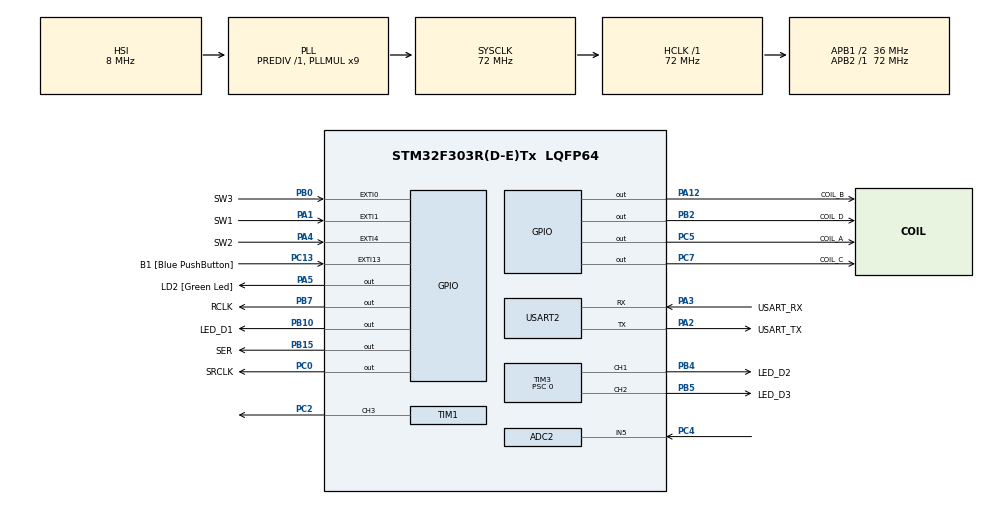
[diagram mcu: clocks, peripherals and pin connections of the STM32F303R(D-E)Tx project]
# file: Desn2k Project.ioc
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ADC2.Channel-0\#ChannelRegularConversion=ADC_CHANNEL_5
ADC2.NbrOfConversionFlag=1
ADC2.Offset-0\#ChannelRegularConversion=0
ADC2.OffsetNumber-0\#ChannelRegularConversion=ADC_OFFSET_NONE
ADC2.Rank-0\#ChannelRegularConversion=1
ADC2.SamplingTime-0\#ChannelRegularConversion=ADC_SAMPLETIME_1CYCLE_5
ADC2.SamplingTimeOPAMP-0\#ChannelRegularConversion=ADC_SAMPLETIME_61CYCLES_5
Mcu.Family=STM32F3
Mcu.Name=STM32F303R(D-E)Tx
Mcu.Package=LQFP64
NVIC.EXTI0_IRQn=true\:0\:0\:false\:false\:true\:true\:true\:true
NVIC.EXTI15_10_IRQn=true\:0\:0\:false\:false\:true\:true\:true\:true
NVIC.EXTI1_IRQn=true\:0\:0\:false\:false\:true\:true\:true\:true
NVIC.EXTI4_IRQn=true\:0\:0\:false\:false\:true\:true\:true\:true
NVIC.PriorityGroup=NVIC_PRIORITYGROUP_0
NVIC.RTC_Alarm_IRQn=true\:0\:0\:false\:false\:true\:true\:true\:true
NVIC.TIM1_BRK_TIM15_IRQn=true\:0\:0\:false\:false\:true\:true\:true\:true
NVIC.TIM1_TRG_COM_TIM17_IRQn=true\:0\:0\:false\:false\:true\:true\:true\:true
NVIC.TIM1_UP_TIM16_IRQn=true\:0\:0\:false\:false\:true\:true\:true\:true
NVIC.TIM6_DAC_IRQn=true\:0\:0\:false\:false\:true\:true\:true\:true
NVIC.TIM7_IRQn=true\:0\:0\:false\:false\:true\:true\:true\:true
PA1.GPIO_Label=SW1
PA1.Signal=GPXTI1
PA12.GPIO_Label=COIL_B
PA12.Signal=GPIO_Output
PA13.GPIO_Label=TMS
PA13.Mode=Serial_Wire
PA13.Signal=SYS_JTMS-SWDIO
PA14.GPIO_Label=TCK
PA14.Mode=Serial_Wire
PA14.Signal=SYS_JTCK-SWCLK
PA2.GPIO_Label=USART_TX
PA2.GPIO_Mode=GPIO_MODE_AF_PP
PA2.GPIO_PuPd=GPIO_NOPULL
PA2.GPIO_Speed=GPIO_SPEED_FREQ_LOW
PA2.Mode=Asynchronous
PA2.Signal=USART2_TX
PA3.GPIO_Label=USART_RX
PA3.GPIO_Mode=GPIO_MODE_AF_PP
PA3.GPIO_PuPd=GPIO_NOPULL
PA3.GPIO_Speed=GPIO_SPEED_FREQ_LOW
PA3.Mode=Asynchronous
PA3.Signal=USART2_RX
PA4.GPIO_Label=SW2
PA4.Signal=GPXTI4
PA5.GPIO_Label=LD2 [Green Led]
PA5.GPIO_Mode=GPIO_MODE_OUTPUT_PP
PA5.GPIO_PuPd=GPIO_NOPULL
PA5.GPIO_Speed=GPIO_SPEED_FREQ_LOW
PA5.Signal=GPIO_Output
PB0.GPIO_Label=SW3
PB0.Signal=GPXTI0
PB10.GPIO_Label=LED_D1
PB10.Signal=GPIO_Output
PB15.GPIO_Label=SER
PB15.Signal=GPIO_Output
PB2.GPIO_Label=COIL_D
PB2.Signal=GPIO_Output
PB3.GPIO_Label=SWO
PB3.Signal=SYS_JTDO-TRACESWO
PB4.GPIO_Label=LED_D2
PB4.Signal=S_TIM3_CH1
PB5.GPIO_Label=LED_D3
PB5.Signal=S_TIM3_CH2
PB7.GPIO_Label=RCLK
PB7.Signal=GPIO_Output
PC0.GPIO_Label=SRCLK
PC0.Signal=GPIO_Output
PC13.GPIO_Label=B1 [Blue PushButton]
PC13.GPIO_ModeDefaultEXTI=GPIO_MODE_IT_FALLING
PC13.Signal=GPXTI13
PC14-OSC32_IN.Mode=LSE-External-Oscillator
PC14-OSC32_IN.Signal=RCC_OSC32_IN
PC15-OSC32_OUT.Mode=LSE-External-Oscillator
PC15-OSC32_OUT.Signal=RCC_OSC32_OUT
PC2.Signal=S_TIM1_CH3
PC4.Mode=IN5-Single-Ended
PC4.Signal=ADC2_IN5
PC5.GPIO_Label=COIL_A
PC5.Signal=GPIO_Output
PC7.GPIO_Label=COIL_C
PC7.Signal=GPIO_Output
PF0-OSC_IN.Mode=HSE-External-Clock-Source
PF0-OSC_IN.Signal=RCC_OSC_IN
PF1-OSC_OUT.Signal=RCC_OSC_OUT
ProjectManager.HeapSize=0x200
ProjectManager.StackSize=0x400
ProjectManager.TargetToolchain=STM32CubeIDE
RCC.AHBFreq_Value=72000000
RCC.APB1CLKDivider=RCC_HCLK_DIV2
RCC.APB1Freq_Value=36000000
RCC.APB1TimFreq_Value=72000000
RCC.APB2Freq_Value=72000000
RCC.APB2TimFreq_Value=72000000
RCC.CortexFreq_Value=72000000
RCC.HCLKFreq_Value=72000000
RCC.HSE_VALUE=8000000
RCC.HSI_VALUE=8000000
RCC.PLLM=8
RCC.PLLMUL=RCC_PLL_MUL9
RCC.PLLN=336
RCC.PLLP=RCC_PLLP_DIV4
RCC.PLLQ=7
RCC.RCC_PLLsource_Clock_Source_FROM_HSE=RCC_HSE_PREDIV_DIV2
RCC.SYSCLKFreq_VALUE=72000000
RCC.SYSCLKSourceVirtual=RCC_SYSCLKSOURCE_PLLCLK
RCC.USBFreq_Value=72000000
RTC.Alarm-Alarm\ A=RTC_ALARM_A
RTC.AlarmMaskDateWeekDay-Alarm\ A=RTC_ALARMMASK_DATEWEEKDAY
RTC.Date=27
RTC.Hours=18
RTC.Hours_A-Alarm\ A=18
RTC.Minutes=16
RTC.Minutes_A-Alarm\ A=17
RTC.Month=RTC_MONTH_JULY
RTC.Seconds=0
RTC.WeekDay=RTC_WEEKDAY_SATURDAY
RTC.Year=24
SH.S_TIM1_CH3.0=TIM1_CH3,PWM Generation3 CH3
SH.S_TIM3_CH1.0=TIM3_CH1,PWM Generation1 CH1
SH.S_TIM3_CH2.0=TIM3_CH2,PWM Generation2 CH2
TIM1.Channel-PWM\ Generation3\ CH3=TIM_CHANNEL_3
TIM1.Period=65535
TIM1.Prescaler=999
TIM1.Pulse-PWM\ Generation3\ CH3=0
TIM15.Period=9999
TIM15.Prescaler=7199
TIM16.Period=999
TIM16.Prescaler=7199
TIM3.Channel-PWM\ Generation1\ CH1=TIM_CHANNEL_1
TIM3.Channel-PWM\ Generation2\ CH2=TIM_CHANNEL_2
TIM3.Period=65535
TIM3.Prescaler=0
TIM3.Pulse-PWM\ Generation1\ CH1=0
TIM3.Pulse-PWM\ Generation2\ CH2=0
TIM6.Period=9999
TIM6.Prescaler=7199
TIM7.Period=9999
TIM7.Prescaler=7111
USART2.VirtualMode-Asynchronous=VM_ASYNC
VP_RTC_VS_RTC_Activate.Mode=RTC_Enabled
VP_RTC_VS_RTC_Alarm_A_Intern.Mode=Alarm A
VP_RTC_VS_RTC_Calendar.Mode=RTC_Calendar
VP_TIM15_VS_ClockSourceINT.Mode=Internal
VP_TIM16_VS_ClockSourceINT.Mode=Enable_Timer
VP_TIM1_VS_ClockSourceINT.Mode=Internal
VP_TIM3_VS_ClockSourceINT.Mode=Internal
VP_TIM6_VS_ClockSourceINT.Mode=Enable_Timer
VP_TIM7_VS_ClockSourceINT.Mode=Enable_Timer
board=NUCLEO-F303RE

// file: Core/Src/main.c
/* USER CODE BEGIN Header */
/**
  ******************************************************************************
  * @file           : main.c
  * @brief          : Main program body
  ******************************************************************************
  * @attention
  *
  * Copyright (c) 2024 STMicroelectronics.
  * All rights reserved.
  *
  * This software is licensed under terms that can be found in the LICENSE file
  * in the root directory of this software component.
  * If no LICENSE file comes with this software, it is provided AS-IS.
  *
  ******************************************************************************
  */
/* USER CODE END Header */
#include "main.h"

/* USER CODE BEGIN Includes */
#include "lcd_keypad.h"
#include "timer_config.h"
#include "stopwatch.h"
#include "clock.h"
#include "timer.h"
#include "stdtimer.h"
#include "alarm.h"

#include "stdio.h"
#include "stdbool.h"
#include "math.h"
/* USER CODE END Includes */

/* USER CODE BEGIN PD */
#define DEBOUNCE_DELAY_MS 50  // Debounce delay in milliseconds
/* USER CODE END PD */

ADC_HandleTypeDef hadc2;

RTC_HandleTypeDef hrtc;

TIM_HandleTypeDef htim1;
TIM_HandleTypeDef htim3;
TIM_HandleTypeDef htim6;
TIM_HandleTypeDef htim7;
TIM_HandleTypeDef htim15;
TIM_HandleTypeDef htim16;

UART_HandleTypeDef huart2;

/* USER CODE BEGIN PV */
volatile DeviceState deviceState = {0};
volatile DeviceState previousState = {0};

extern volatile TimerMode currentTimer;
extern volatile TimerMode previousTimer;

int inMode = 0;
int reload = 0;
int playAlert = 0;
/* USER CODE END PV */

void SystemClock_Config(void);
static void MX_GPIO_Init(void);
static void MX_USART2_UART_Init(void);
static void MX_RTC_Init(void);
static void MX_TIM1_Init(void);
static void MX_TIM6_Init(void);
static void MX_TIM16_Init(void);
static void MX_TIM3_Init(void);
static void MX_ADC2_Init(void);
static void MX_TIM15_Init(void);
static void MX_TIM7_Init(void);
/* USER CODE BEGIN PFP */
void CheckDeviceState();
void Motor(int steps);
bool hasStateChanged(DeviceState currentState);
void LightBrightness();
void checkSTDTimer();
/* USER CODE END PFP */

int main(void)
{

  /* MCU Configuration--------------------------------------------------------*/

  /* Reset of all peripherals, Initializes the Flash interface and the Systick. */
  HAL_Init();

  /* Configure the system clock */
  SystemClock_Config();

  /* Initialize all configured peripherals */
  MX_GPIO_Init();
  MX_USART2_UART_Init();
  MX_RTC_Init();
  MX_TIM1_Init();
  MX_TIM6_Init();
  MX_TIM16_Init();
  MX_TIM3_Init();
  MX_ADC2_Init();
  MX_TIM15_Init();
  MX_TIM7_Init();

  /* Infinite loop */
  /* USER CODE BEGIN WHILE */
  HAL_GPIO_WritePin(RW_PORT, LCD_RW_PIN, GPIO_PIN_RESET);
  HAL_GPIO_WritePin(RS_PORT, LCD_RS_PIN, GPIO_PIN_RESET);
  HAL_GPIO_WritePin(E_PORT, LCD_E_PIN, GPIO_PIN_RESET);

  HAL_TIM_PWM_Start(&htim3, TIM_CHANNEL_2);
  HAL_TIM_PWM_Start(&htim3, TIM_CHANNEL_1);

  init_magic();

  // starting timer for brightness of LDR LED's
  HAL_TIM_PWM_Start(&htim1, TIM_CHANNEL_3);
  TIM1->CCR3 = 0;

  // starting timer configuration
  welcome();
  // needs to be after as its based on the user's duration input
  init_timers();

  // clearing shift registers and LCD
  shiftByte(0);
  latchData();
  LCD_Clear();
  LCD_SetCursor(0, 0);
  while (1)
  {
    /* USER CODE END WHILE */

    /* USER CODE BEGIN 3 */
	  // adjust the LED's based on ambient light
	  LightBrightness();
	  // check the current state of the timer
	  CheckDeviceState();

  }
  /* USER CODE END 3 */
}

void SystemClock_Config(void)
{
  RCC_OscInitTypeDef RCC_OscInitStruct = {0};
  RCC_ClkInitTypeDef RCC_ClkInitStruct = {0};
  RCC_PeriphCLKInitTypeDef PeriphClkInit = {0};

  /** Initializes the RCC Oscillators according to the specified parameters
  * in the RCC_OscInitTypeDef structure.
  */
  RCC_OscInitStruct.OscillatorType = RCC_OSCILLATORTYPE_HSI|RCC_OSCILLATORTYPE_LSI;
  RCC_OscInitStruct.HSIState = RCC_HSI_ON;
  RCC_OscInitStruct.HSICalibrationValue = RCC_HSICALIBRATION_DEFAULT;
  RCC_OscInitStruct.LSIState = RCC_LSI_ON;
  RCC_OscInitStruct.PLL.PLLState = RCC_PLL_ON;
  RCC_OscInitStruct.PLL.PLLSource = RCC_PLLSOURCE_HSI;
  RCC_OscInitStruct.PLL.PLLMUL = RCC_PLL_MUL9;
  RCC_OscInitStruct.PLL.PREDIV = RCC_PREDIV_DIV1;
  if (HAL_RCC_OscConfig(&RCC_OscInitStruct) != HAL_OK)
  {
    Error_Handler();
  }

  /** Initializes the CPU, AHB and APB buses clocks
  */
  RCC_ClkInitStruct.ClockType = RCC_CLOCKTYPE_HCLK|RCC_CLOCKTYPE_SYSCLK
                              |RCC_CLOCKTYPE_PCLK1|RCC_CLOCKTYPE_PCLK2;
  RCC_ClkInitStruct.SYSCLKSource = RCC_SYSCLKSOURCE_PLLCLK;
  RCC_ClkInitStruct.AHBCLKDivider = RCC_SYSCLK_DIV1;
  RCC_ClkInitStruct.APB1CLKDivider = RCC_HCLK_DIV2;
  RCC_ClkInitStruct.APB2CLKDivider = RCC_HCLK_DIV1;

  if (HAL_RCC_ClockConfig(&RCC_ClkInitStruct, FLASH_LATENCY_2) != HAL_OK)
  {
    Error_Handler();
  }
  PeriphClkInit.PeriphClockSelection = RCC_PERIPHCLK_USART2|RCC_PERIPHCLK_RTC
                              |RCC_PERIPHCLK_TIM1|RCC_PERIPHCLK_TIM15
                              |RCC_PERIPHCLK_TIM16|RCC_PERIPHCLK_ADC12
                              |RCC_PERIPHCLK_TIM34;
  PeriphClkInit.Usart2ClockSelection = RCC_USART2CLKSOURCE_PCLK1;
  PeriphClkInit.Adc12ClockSelection = RCC_ADC12PLLCLK_DIV1;
  PeriphClkInit.RTCClockSelection = RCC_RTCCLKSOURCE_LSI;
  PeriphClkInit.Tim1ClockSelection = RCC_TIM1CLK_HCLK;
  PeriphClkInit.Tim15ClockSelection = RCC_TIM15CLK_HCLK;
  PeriphClkInit.Tim16ClockSelection = RCC_TIM16CLK_HCLK;
  PeriphClkInit.Tim34ClockSelection = RCC_TIM34CLK_HCLK;
  if (HAL_RCCEx_PeriphCLKConfig(&PeriphClkInit) != HAL_OK)
  {
    Error_Handler();
  }
}

static void MX_ADC2_Init(void)
{

  ADC_ChannelConfTypeDef sConfig = {0};

  /** Common config
  */
  hadc2.Instance = ADC2;
  hadc2.Init.ClockPrescaler = ADC_CLOCK_ASYNC_DIV1;
  hadc2.Init.Resolution = ADC_RESOLUTION_12B;
  hadc2.Init.ScanConvMode = ADC_SCAN_DISABLE;
  hadc2.Init.ContinuousConvMode = DISABLE;
  hadc2.Init.DiscontinuousConvMode = DISABLE;
  hadc2.Init.ExternalTrigConvEdge = ADC_EXTERNALTRIGCONVEDGE_NONE;
  hadc2.Init.ExternalTrigConv = ADC_SOFTWARE_START;
  hadc2.Init.DataAlign = ADC_DATAALIGN_RIGHT;
  hadc2.Init.NbrOfConversion = 1;
  hadc2.Init.DMAContinuousRequests = DISABLE;
  hadc2.Init.EOCSelection = ADC_EOC_SINGLE_CONV;
  hadc2.Init.LowPowerAutoWait = DISABLE;
  hadc2.Init.Overrun = ADC_OVR_DATA_OVERWRITTEN;
  if (HAL_ADC_Init(&hadc2) != HAL_OK)
  {
    Error_Handler();
  }

  /** Configure Regular Channel
  */
  sConfig.Channel = ADC_CHANNEL_5;
  sConfig.Rank = ADC_REGULAR_RANK_1;
  sConfig.SingleDiff = ADC_SINGLE_ENDED;
  sConfig.SamplingTime = ADC_SAMPLETIME_1CYCLE_5;
  sConfig.OffsetNumber = ADC_OFFSET_NONE;
  sConfig.Offset = 0;
  if (HAL_ADC_ConfigChannel(&hadc2, &sConfig) != HAL_OK)
  {
    Error_Handler();
  }

}

static void MX_RTC_Init(void)
{

  RTC_TimeTypeDef sTime = {0};
  RTC_DateTypeDef sDate = {0};
  RTC_AlarmTypeDef sAlarm = {0};

  /** Initialize RTC Only
  */
  hrtc.Instance = RTC;
  hrtc.Init.HourFormat = RTC_HOURFORMAT_24;
  hrtc.Init.AsynchPrediv = 127;
  hrtc.Init.SynchPrediv = 255;
  hrtc.Init.OutPut = RTC_OUTPUT_DISABLE;
  hrtc.Init.OutPutPolarity = RTC_OUTPUT_POLARITY_HIGH;
  hrtc.Init.OutPutType = RTC_OUTPUT_TYPE_OPENDRAIN;
  if (HAL_RTC_Init(&hrtc) != HAL_OK)
  {
    Error_Handler();
  }

  /** Initialize RTC and set the Time and Date
  */
  sTime.Hours = 0x18;
  sTime.Minutes = 0x16;
  sTime.Seconds = 0x0;
  sTime.DayLightSaving = RTC_DAYLIGHTSAVING_NONE;
  sTime.StoreOperation = RTC_STOREOPERATION_RESET;
  if (HAL_RTC_SetTime(&hrtc, &sTime, RTC_FORMAT_BCD) != HAL_OK)
  {
    Error_Handler();
  }
  sDate.WeekDay = RTC_WEEKDAY_SATURDAY;
  sDate.Month = RTC_MONTH_JULY;
  sDate.Date = 0x27;
  sDate.Year = 0x24;

  if (HAL_RTC_SetDate(&hrtc, &sDate, RTC_FORMAT_BCD) != HAL_OK)
  {
    Error_Handler();
  }

  /** Enable the Alarm A
  */
  sAlarm.AlarmTime.Hours = 0x18;
  sAlarm.AlarmTime.Minutes = 0x17;
  sAlarm.AlarmTime.Seconds = 0x0;
  sAlarm.AlarmTime.SubSeconds = 0x0;
  sAlarm.AlarmTime.DayLightSaving = RTC_DAYLIGHTSAVING_NONE;
  sAlarm.AlarmTime.StoreOperation = RTC_STOREOPERATION_RESET;
  sAlarm.AlarmMask = RTC_ALARMMASK_DATEWEEKDAY;
  sAlarm.AlarmSubSecondMask = RTC_ALARMSUBSECONDMASK_ALL;
  sAlarm.AlarmDateWeekDaySel = RTC_ALARMDATEWEEKDAYSEL_DATE;
  sAlarm.AlarmDateWeekDay = 0x1;
  sAlarm.Alarm = RTC_ALARM_A;
  if (HAL_RTC_SetAlarm_IT(&hrtc, &sAlarm, RTC_FORMAT_BCD) != HAL_OK)
  {
    Error_Handler();
  }

}

static void MX_TIM1_Init(void)
{

  TIM_ClockConfigTypeDef sClockSourceConfig = {0};
  TIM_MasterConfigTypeDef sMasterConfig = {0};
  TIM_OC_InitTypeDef sConfigOC = {0};
  TIM_BreakDeadTimeConfigTypeDef sBreakDeadTimeConfig = {0};

  htim1.Instance = TIM1;
  htim1.Init.Prescaler = 999;
  htim1.Init.CounterMode = TIM_COUNTERMODE_UP;
  htim1.Init.Period = 65535;
  htim1.Init.ClockDivision = TIM_CLOCKDIVISION_DIV1;
  htim1.Init.RepetitionCounter = 0;
  htim1.Init.AutoReloadPreload = TIM_AUTORELOAD_PRELOAD_DISABLE;
  if (HAL_TIM_Base_Init(&htim1) != HAL_OK)
  {
    Error_Handler();
  }
  sClockSourceConfig.ClockSource = TIM_CLOCKSOURCE_INTERNAL;
  if (HAL_TIM_ConfigClockSource(&htim1, &sClockSourceConfig) != HAL_OK)
  {
    Error_Handler();
  }
  if (HAL_TIM_PWM_Init(&htim1) != HAL_OK)
  {
    Error_Handler();
  }
  sMasterConfig.MasterOutputTrigger = TIM_TRGO_RESET;
  sMasterConfig.MasterOutputTrigger2 = TIM_TRGO2_RESET;
  sMasterConfig.MasterSlaveMode = TIM_MASTERSLAVEMODE_DISABLE;
  if (HAL_TIMEx_MasterConfigSynchronization(&htim1, &sMasterConfig) != HAL_OK)
  {
    Error_Handler();
  }
  sConfigOC.OCMode = TIM_OCMODE_PWM1;
  sConfigOC.Pulse = 0;
  sConfigOC.OCPolarity = TIM_OCPOLARITY_HIGH;
  sConfigOC.OCNPolarity = TIM_OCNPOLARITY_HIGH;
  sConfigOC.OCFastMode = TIM_OCFAST_DISABLE;
  sConfigOC.OCIdleState = TIM_OCIDLESTATE_RESET;
  sConfigOC.OCNIdleState = TIM_OCNIDLESTATE_RESET;
  if (HAL_TIM_PWM_ConfigChannel(&htim1, &sConfigOC, TIM_CHANNEL_3) != HAL_OK)
  {
    Error_Handler();
  }
  sBreakDeadTimeConfig.OffStateRunMode = TIM_OSSR_DISABLE;
  sBreakDeadTimeConfig.OffStateIDLEMode = TIM_OSSI_DISABLE;
  sBreakDeadTimeConfig.LockLevel = TIM_LOCKLEVEL_OFF;
  sBreakDeadTimeConfig.DeadTime = 0;
  sBreakDeadTimeConfig.BreakState = TIM_BREAK_DISABLE;
  sBreakDeadTimeConfig.BreakPolarity = TIM_BREAKPOLARITY_HIGH;
  sBreakDeadTimeConfig.BreakFilter = 0;
  sBreakDeadTimeConfig.Break2State = TIM_BREAK2_DISABLE;
  sBreakDeadTimeConfig.Break2Polarity = TIM_BREAK2POLARITY_HIGH;
  sBreakDeadTimeConfig.Break2Filter = 0;
  sBreakDeadTimeConfig.AutomaticOutput = TIM_AUTOMATICOUTPUT_DISABLE;
  if (HAL_TIMEx_ConfigBreakDeadTime(&htim1, &sBreakDeadTimeConfig) != HAL_OK)
  {
    Error_Handler();
  }
  HAL_TIM_MspPostInit(&htim1);

}

static void MX_TIM3_Init(void)
{

  TIM_ClockConfigTypeDef sClockSourceConfig = {0};
  TIM_MasterConfigTypeDef sMasterConfig = {0};
  TIM_OC_InitTypeDef sConfigOC = {0};

  htim3.Instance = TIM3;
  htim3.Init.Prescaler = 0;
  htim3.Init.CounterMode = TIM_COUNTERMODE_UP;
  htim3.Init.Period = 65535;
  htim3.Init.ClockDivision = TIM_CLOCKDIVISION_DIV1;
  htim3.Init.AutoReloadPreload = TIM_AUTORELOAD_PRELOAD_DISABLE;
  if (HAL_TIM_Base_Init(&htim3) != HAL_OK)
  {
    Error_Handler();
  }
  sClockSourceConfig.ClockSource = TIM_CLOCKSOURCE_INTERNAL;
  if (HAL_TIM_ConfigClockSource(&htim3, &sClockSourceConfig) != HAL_OK)
  {
    Error_Handler();
  }
  if (HAL_TIM_PWM_Init(&htim3) != HAL_OK)
  {
    Error_Handler();
  }
  sMasterConfig.MasterOutputTrigger = TIM_TRGO_RESET;
  sMasterConfig.MasterSlaveMode = TIM_MASTERSLAVEMODE_DISABLE;
  if (HAL_TIMEx_MasterConfigSynchronization(&htim3, &sMasterConfig) != HAL_OK)
  {
    Error_Handler();
  }
  sConfigOC.OCMode = TIM_OCMODE_PWM1;
  sConfigOC.Pulse = 0;
  sConfigOC.OCPolarity = TIM_OCPOLARITY_HIGH;
  sConfigOC.OCFastMode = TIM_OCFAST_DISABLE;
  if (HAL_TIM_PWM_ConfigChannel(&htim3, &sConfigOC, TIM_CHANNEL_1) != HAL_OK)
  {
    Error_Handler();
  }
  if (HAL_TIM_PWM_ConfigChannel(&htim3, &sConfigOC, TIM_CHANNEL_2) != HAL_OK)
  {
    Error_Handler();
  }
  HAL_TIM_MspPostInit(&htim3);

}

static void MX_TIM6_Init(void)
{

  TIM_MasterConfigTypeDef sMasterConfig = {0};

  htim6.Instance = TIM6;
  htim6.Init.Prescaler = 7199;
  htim6.Init.CounterMode = TIM_COUNTERMODE_UP;
  htim6.Init.Period = 9999;
  htim6.Init.AutoReloadPreload = TIM_AUTORELOAD_PRELOAD_DISABLE;
  if (HAL_TIM_Base_Init(&htim6) != HAL_OK)
  {
    Error_Handler();
  }
  sMasterConfig.MasterOutputTrigger = TIM_TRGO_RESET;
  sMasterConfig.MasterSlaveMode = TIM_MASTERSLAVEMODE_DISABLE;
  if (HAL_TIMEx_MasterConfigSynchronization(&htim6, &sMasterConfig) != HAL_OK)
  {
    Error_Handler();
  }

}

static void MX_TIM7_Init(void)
{

  TIM_MasterConfigTypeDef sMasterConfig = {0};

  htim7.Instance = TIM7;
  htim7.Init.Prescaler = 7111;
  htim7.Init.CounterMode = TIM_COUNTERMODE_UP;
  htim7.Init.Period = 9999;
  htim7.Init.AutoReloadPreload = TIM_AUTORELOAD_PRELOAD_DISABLE;
  if (HAL_TIM_Base_Init(&htim7) != HAL_OK)
  {
    Error_Handler();
  }
  sMasterConfig.MasterOutputTrigger = TIM_TRGO_RESET;
  sMasterConfig.MasterSlaveMode = TIM_MASTERSLAVEMODE_DISABLE;
  if (HAL_TIMEx_MasterConfigSynchronization(&htim7, &sMasterConfig) != HAL_OK)
  {
    Error_Handler();
  }

}

static void MX_TIM15_Init(void)
{

  TIM_ClockConfigTypeDef sClockSourceConfig = {0};
  TIM_MasterConfigTypeDef sMasterConfig = {0};

  htim15.Instance = TIM15;
  htim15.Init.Prescaler = 7199;
  htim15.Init.CounterMode = TIM_COUNTERMODE_UP;
  htim15.Init.Period = 9999;
  htim15.Init.ClockDivision = TIM_CLOCKDIVISION_DIV1;
  htim15.Init.RepetitionCounter = 0;
  htim15.Init.AutoReloadPreload = TIM_AUTORELOAD_PRELOAD_DISABLE;
  if (HAL_TIM_Base_Init(&htim15) != HAL_OK)
  {
    Error_Handler();
  }
  sClockSourceConfig.ClockSource = TIM_CLOCKSOURCE_INTERNAL;
  if (HAL_TIM_ConfigClockSource(&htim15, &sClockSourceConfig) != HAL_OK)
  {
    Error_Handler();
  }
  sMasterConfig.MasterOutputTrigger = TIM_TRGO_RESET;
  sMasterConfig.MasterSlaveMode = TIM_MASTERSLAVEMODE_DISABLE;
  if (HAL_TIMEx_MasterConfigSynchronization(&htim15, &sMasterConfig) != HAL_OK)
  {
    Error_Handler();
  }

}

static void MX_TIM16_Init(void)
{

  htim16.Instance = TIM16;
  htim16.Init.Prescaler = 7199;
  htim16.Init.CounterMode = TIM_COUNTERMODE_UP;
  htim16.Init.Period = 999;
  htim16.Init.ClockDivision = TIM_CLOCKDIVISION_DIV1;
  htim16.Init.RepetitionCounter = 0;
  htim16.Init.AutoReloadPreload = TIM_AUTORELOAD_PRELOAD_DISABLE;
  if (HAL_TIM_Base_Init(&htim16) != HAL_OK)
  {
    Error_Handler();
  }

}

static void MX_USART2_UART_Init(void)
{

  huart2.Instance = USART2;
  huart2.Init.BaudRate = 38400;
  huart2.Init.WordLength = UART_WORDLENGTH_8B;
  huart2.Init.StopBits = UART_STOPBITS_1;
  huart2.Init.Parity = UART_PARITY_NONE;
  huart2.Init.Mode = UART_MODE_TX_RX;
  huart2.Init.HwFlowCtl = UART_HWCONTROL_NONE;
  huart2.Init.OverSampling = UART_OVERSAMPLING_16;
  huart2.Init.OneBitSampling = UART_ONE_BIT_SAMPLE_DISABLE;
  huart2.AdvancedInit.AdvFeatureInit = UART_ADVFEATURE_NO_INIT;
  if (HAL_UART_Init(&huart2) != HAL_OK)
  {
    Error_Handler();
  }

}

static void MX_GPIO_Init(void)
{
  GPIO_InitTypeDef GPIO_InitStruct = {0};
/* USER CODE BEGIN MX_GPIO_Init_1 */
  __HAL_RCC_GPIOD_CLK_ENABLE();
/* USER CODE END MX_GPIO_Init_1 */

  /* GPIO Ports Clock Enable */
  __HAL_RCC_GPIOC_CLK_ENABLE();
  __HAL_RCC_GPIOF_CLK_ENABLE();
  __HAL_RCC_GPIOA_CLK_ENABLE();
  __HAL_RCC_GPIOB_CLK_ENABLE();

  /*Configure GPIO pin Output Level */
  HAL_GPIO_WritePin(GPIOC, SRCLK_Pin|COIL_A_Pin|COIL_C_Pin, GPIO_PIN_RESET);

  /*Configure GPIO pin Output Level */
  HAL_GPIO_WritePin(GPIOA, LD2_Pin|COIL_B_Pin, GPIO_PIN_RESET);

  /*Configure GPIO pin Output Level */
  HAL_GPIO_WritePin(GPIOB, COIL_D_Pin|LED_D1_Pin|SER_Pin|RCLK_Pin, GPIO_PIN_RESET);

  /*Configure GPIO pin : B1_Pin */
  GPIO_InitStruct.Pin = B1_Pin;
  GPIO_InitStruct.Mode = GPIO_MODE_IT_FALLING;
  GPIO_InitStruct.Pull = GPIO_NOPULL;
  HAL_GPIO_Init(B1_GPIO_Port, &GPIO_InitStruct);

  /*Configure GPIO pins : SRCLK_Pin COIL_A_Pin COIL_C_Pin */
  GPIO_InitStruct.Pin = SRCLK_Pin|COIL_A_Pin|COIL_C_Pin;
  GPIO_InitStruct.Mode = GPIO_MODE_OUTPUT_PP;
  GPIO_InitStruct.Pull = GPIO_NOPULL;
  GPIO_InitStruct.Speed = GPIO_SPEED_FREQ_LOW;
  HAL_GPIO_Init(GPIOC, &GPIO_InitStruct);

  /*Configure GPIO pins : SW1_Pin SW2_Pin */
  GPIO_InitStruct.Pin = SW1_Pin|SW2_Pin;
  GPIO_InitStruct.Mode = GPIO_MODE_IT_RISING;
  GPIO_InitStruct.Pull = GPIO_NOPULL;
  HAL_GPIO_Init(GPIOA, &GPIO_InitStruct);

  /*Configure GPIO pins : LD2_Pin COIL_B_Pin */
  GPIO_InitStruct.Pin = LD2_Pin|COIL_B_Pin;
  GPIO_InitStruct.Mode = GPIO_MODE_OUTPUT_PP;
  GPIO_InitStruct.Pull = GPIO_NOPULL;
  GPIO_InitStruct.Speed = GPIO_SPEED_FREQ_LOW;
  HAL_GPIO_Init(GPIOA, &GPIO_InitStruct);

  /*Configure GPIO pin : SW3_Pin */
  GPIO_InitStruct.Pin = SW3_Pin;
  GPIO_InitStruct.Mode = GPIO_MODE_IT_RISING;
  GPIO_InitStruct.Pull = GPIO_NOPULL;
  HAL_GPIO_Init(SW3_GPIO_Port, &GPIO_InitStruct);

  /*Configure GPIO pins : COIL_D_Pin LED_D1_Pin SER_Pin RCLK_Pin */
  GPIO_InitStruct.Pin = COIL_D_Pin|LED_D1_Pin|SER_Pin|RCLK_Pin;
  GPIO_InitStruct.Mode = GPIO_MODE_OUTPUT_PP;
  GPIO_InitStruct.Pull = GPIO_NOPULL;
  GPIO_InitStruct.Speed = GPIO_SPEED_FREQ_LOW;
  HAL_GPIO_Init(GPIOB, &GPIO_InitStruct);

  /* EXTI interrupt init*/
  HAL_NVIC_SetPriority(EXTI0_IRQn, 0, 0);
  HAL_NVIC_EnableIRQ(EXTI0_IRQn);

  HAL_NVIC_SetPriority(EXTI1_IRQn, 0, 0);
  HAL_NVIC_EnableIRQ(EXTI1_IRQn);

  HAL_NVIC_SetPriority(EXTI4_IRQn, 0, 0);
  HAL_NVIC_EnableIRQ(EXTI4_IRQn);

  HAL_NVIC_SetPriority(EXTI15_10_IRQn, 0, 0);
  HAL_NVIC_EnableIRQ(EXTI15_10_IRQn);

/* USER CODE BEGIN MX_GPIO_Init_2 */
  GPIO_InitStruct.Pin = LCD_D4_PIN;
  GPIO_InitStruct.Mode = GPIO_MODE_OUTPUT_PP;
  GPIO_InitStruct.Pull = GPIO_NOPULL;
  GPIO_InitStruct.Speed = GPIO_SPEED_FREQ_LOW;
  HAL_GPIO_Init(D_PORT, &GPIO_InitStruct);

  GPIO_InitStruct.Pin = LCD_D5_PIN;
  GPIO_InitStruct.Mode = GPIO_MODE_OUTPUT_PP;
  GPIO_InitStruct.Pull = GPIO_NOPULL;
  GPIO_InitStruct.Speed = GPIO_SPEED_FREQ_LOW;
  HAL_GPIO_Init(D_PORT, &GPIO_InitStruct);

  GPIO_InitStruct.Pin = LCD_D6_PIN;
  GPIO_InitStruct.Mode = GPIO_MODE_OUTPUT_PP;
  GPIO_InitStruct.Pull = GPIO_NOPULL;
  GPIO_InitStruct.Speed = GPIO_SPEED_FREQ_LOW;
  HAL_GPIO_Init(D_PORT, &GPIO_InitStruct);

  GPIO_InitStruct.Pin = LCD_D7_PIN;
  GPIO_InitStruct.Mode = GPIO_MODE_OUTPUT_PP;
  GPIO_InitStruct.Pull = GPIO_NOPULL;
  GPIO_InitStruct.Speed = GPIO_SPEED_FREQ_LOW;
  HAL_GPIO_Init(D_PORT, &GPIO_InitStruct);

  GPIO_InitStruct.Pin = LCD_E_PIN;
  GPIO_InitStruct.Mode = GPIO_MODE_OUTPUT_PP;
  GPIO_InitStruct.Pull = GPIO_NOPULL;
  GPIO_InitStruct.Speed = GPIO_SPEED_FREQ_LOW;
  HAL_GPIO_Init(E_PORT, &GPIO_InitStruct);

  GPIO_InitStruct.Pin = LCD_RW_PIN;
  GPIO_InitStruct.Mode = GPIO_MODE_OUTPUT_PP;
  GPIO_InitStruct.Pull = GPIO_NOPULL;
  GPIO_InitStruct.Speed = GPIO_SPEED_FREQ_LOW;
  HAL_GPIO_Init(RW_PORT, &GPIO_InitStruct);

  GPIO_InitStruct.Pin = LCD_RS_PIN;
  GPIO_InitStruct.Mode = GPIO_MODE_OUTPUT_PP;
  GPIO_InitStruct.Pull = GPIO_NOPULL;
  GPIO_InitStruct.Speed = GPIO_SPEED_FREQ_LOW;
  HAL_GPIO_Init(RS_PORT, &GPIO_InitStruct);

  GPIO_InitStruct.Pin = C1_PIN | C2_PIN | C3_PIN |C4_PIN;
  GPIO_InitStruct.Mode = GPIO_MODE_OUTPUT_PP;
  GPIO_InitStruct.Pull = GPIO_NOPULL;
  GPIO_InitStruct.Speed = GPIO_SPEED_FREQ_LOW;
  HAL_GPIO_Init(C_PORT, &GPIO_InitStruct);

  GPIO_InitStruct.Pin = R1_PIN | R2_PIN | R3_PIN| R4_PIN;
  GPIO_InitStruct.Mode = GPIO_MODE_INPUT;
  GPIO_InitStruct.Pull = GPIO_PULLDOWN;
  GPIO_InitStruct.Speed = GPIO_SPEED_FREQ_LOW;
  HAL_GPIO_Init(R_PORT, &GPIO_InitStruct);

  GPIO_InitStruct.Pin = GPIO_PIN_4;
  GPIO_InitStruct.Mode = GPIO_MODE_OUTPUT_PP;
  GPIO_InitStruct.Pull = GPIO_NOPULL;
  HAL_GPIO_Init(GPIOB, &GPIO_InitStruct);
/* USER CODE END MX_GPIO_Init_2 */
}

/* USER CODE BEGIN 4 */
volatile uint32_t last_interrupt_time_sw1 = 0;
volatile uint32_t last_interrupt_time_sw2 = 0;
volatile uint32_t last_interrupt_time_sw3 = 0;

void HAL_GPIO_EXTI_Callback(uint16_t GPIO_Pin) {
    uint32_t current_time = HAL_GetTick();

    if (GPIO_Pin == SW1_Pin) {
        if (current_time - last_interrupt_time_sw1 >= DEBOUNCE_DELAY_MS) {
            last_interrupt_time_sw1 = current_time;
            deviceState.mainMode = !deviceState.mainMode;
        }
    } else if (GPIO_Pin == SW2_Pin) {
        if (current_time - last_interrupt_time_sw2 >= DEBOUNCE_DELAY_MS) {
            last_interrupt_time_sw2 = current_time;
            if (deviceState.mainMode == TIMER_MODE && deviceState.timerMode != user.num_timers - 1) {
                deviceState.timerMode = deviceState.timerMode + 1;
            } else if (deviceState.mainMode == TIMER_MODE) {
                deviceState.timerMode = TIMER1;
            } else if (deviceState.mainMode == CLOCK_MODE && deviceState.clockMode != STOPWATCH) {
                deviceState.clockMode = deviceState.clockMode + 1;
            } else {
                deviceState.clockMode = CLOCK;
            }
        }
    } else if (GPIO_Pin == SW3_Pin && deviceState.mainMode == CLOCK_MODE) {
        if (current_time - last_interrupt_time_sw3 >= DEBOUNCE_DELAY_MS) {
            last_interrupt_time_sw3 = current_time;
            deviceState.modeState = !deviceState.modeState;
        }
    } else if (GPIO_Pin == B1_Pin) {
    	timer_playing = 0;
    	HAL_TIM_Base_Stop_IT(&htim16);
    	note_playing = 0;
    }
}

void HAL_TIM_PeriodElapsedCallback(TIM_HandleTypeDef *htim) {
	if (htim == &htim6) {
		seconds++;
	}

	if (htim == &htim15) {
		if (time_left > 0) {
			time_left--;
		}
		if (time_left == 0 && timerRunning == 1) {
			timerRunning = 0;
			HAL_TIM_Base_Stop_IT(&htim15);
			playAlert = 1;
		}

	}

	if (htim == &htim7) {
		if (user.timers[TIMER1].running) {
			if (user.timers[TIMER1].remaining_time > 0) {
				user.timerss[TIMER1].remaining_time--;
			}
			if (user.timers[TIMER1].remaining_time == 0) {
				playFinishedAlert[TIMER1] = 1;
			}
		}

		if (user.timers[TIMER2].running) {
			if (user.timers[TIMER2].remaining_time > 0) {
				user.timers[TIMER2].remaining_time--;
			}
			if (user.timers[TIMER2].remaining_time == 0) {
				playFinishedAlert[TIMER2] = 1;
			}
		}

		if (user.timers[TIMER3].running) {
			if (user.timers[TIMER3].remaining_time > 0) {
				user.timers[TIMER3].remaining_time--;
			}
			if (user.timers[TIMER3].remaining_time == 0) {
				playFinishedAlert[TIMER3] = 1;
			}
		}

		if (user.timers[TIMER4].running) {
			if (user.timers[TIMER4].remaining_time > 0) {
				user.timers[TIMER4].remaining_time--;
			}
			if (user.timers[TIMER4].remaining_time == 0) {
				playFinishedAlert[TIMER4] = 1;
			}
		}

	}

//	if (htim == &htim8) {
//
//	}
//
//	if (htim == &htim2) {
//		if (user.timers[TIMER3].running && user.timers[TIMER3].remaining_time > 0) {
//			user.timers[TIMER3].remaining_time--;
//		}
//	}
//
//	if (htim == &htim17) {
//		if (user.timers[TIMER4].running && user.timers[TIMER4].remaining_time > 0) {
//			user.timers[TIMER4].remaining_time--;
//		}
//	}

	if (htim == &htim16) {
		HAL_TIM_Base_Stop_IT(&htim16);
		TIM1->CCR3 = 0;
		note_playing = 0;
	}
}

// checks if the timer's state has changed
bool hasStateChanged(DeviceState currentState) {
	if (currentState.mainMode == CLOCK_MODE) {
		checkSTDTimer();
	}
    bool changed = false;
    // no config mode for the timer
    if (currentState.mainMode == CLOCK_MODE && currentState.clockMode == STOPWATCH && currentState.modeState == CONFIG) {
    	currentState.modeState = DISPLAY;
    }
    if (currentState.mainMode != previousState.mainMode ||
        currentState.timerMode != previousState.timerMode ||
        currentState.clockMode != previousState.clockMode ||
        currentState.modeState != previousState.modeState) {
        changed = true;
    }

    // Update previousState to the current state
    previousState = currentState;

    return changed;
}

// checks if the standard clock timer needs to play the alert
void checkSTDTimer() {
	if (playAlert && deviceState.mainMode == CLOCK_MODE) {
		 stdTimerAlert();
		 playAlert = 0;
	}
}

void Motor(int steps) {
	// half step motor code
    int step = 0;
    for (int i = 0; i < steps; i++) {
    	switch(step) {
			case 0:
				HAL_GPIO_WritePin(COIL_B_GPIO_Port, COIL_B_Pin, 0);
				HAL_GPIO_WritePin(COIL_D_GPIO_Port, COIL_D_Pin, 0);
				HAL_GPIO_WritePin(COIL_A_GPIO_Port, COIL_A_Pin, 0);
				HAL_GPIO_WritePin(COIL_C_GPIO_Port, COIL_C_Pin, 1);
				break;
			case 1:
				HAL_GPIO_WritePin(COIL_B_GPIO_Port, COIL_B_Pin, 0);
				HAL_GPIO_WritePin(COIL_D_GPIO_Port, COIL_D_Pin, 1);
				HAL_GPIO_WritePin(COIL_A_GPIO_Port, COIL_A_Pin, 0);
				HAL_GPIO_WritePin(COIL_C_GPIO_Port, COIL_C_Pin, 1);
				break;
			case 2:
				HAL_GPIO_WritePin(COIL_B_GPIO_Port, COIL_B_Pin, 0);
				HAL_GPIO_WritePin(COIL_D_GPIO_Port, COIL_D_Pin, 1);
				HAL_GPIO_WritePin(COIL_A_GPIO_Port, COIL_A_Pin, 0);
				HAL_GPIO_WritePin(COIL_C_GPIO_Port, COIL_C_Pin, 0);
				break;
			case 3:
				HAL_GPIO_WritePin(COIL_B_GPIO_Port, COIL_B_Pin, 0);
				HAL_GPIO_WritePin(COIL_D_GPIO_Port, COIL_D_Pin, 1);
				HAL_GPIO_WritePin(COIL_A_GPIO_Port, COIL_A_Pin, 1);
				HAL_GPIO_WritePin(COIL_C_GPIO_Port, COIL_C_Pin, 0);
				break;
			case 4:
				HAL_GPIO_WritePin(COIL_B_GPIO_Port, COIL_B_Pin, 0);
				HAL_GPIO_WritePin(COIL_D_GPIO_Port, COIL_D_Pin, 0);
				HAL_GPIO_WritePin(COIL_A_GPIO_Port, COIL_A_Pin, 1);
				HAL_GPIO_WritePin(COIL_C_GPIO_Port, COIL_C_Pin, 0);
				break;
			case 5:
				HAL_GPIO_WritePin(COIL_B_GPIO_Port, COIL_B_Pin, 1);
				HAL_GPIO_WritePin(COIL_D_GPIO_Port, COIL_D_Pin, 0);
				HAL_GPIO_WritePin(COIL_A_GPIO_Port, COIL_A_Pin, 1);
				HAL_GPIO_WritePin(COIL_C_GPIO_Port, COIL_C_Pin, 0);
				break;
			case 6:
				HAL_GPIO_WritePin(COIL_B_GPIO_Port, COIL_B_Pin, 1);
				HAL_GPIO_WritePin(COIL_D_GPIO_Port, COIL_D_Pin, 0);
				HAL_GPIO_WritePin(COIL_A_GPIO_Port, COIL_A_Pin, 0);
				HAL_GPIO_WritePin(COIL_C_GPIO_Port, COIL_C_Pin, 0);
				break;
			case 7:
				HAL_GPIO_WritePin(COIL_B_GPIO_Port, COIL_B_Pin, 1);
				HAL_GPIO_WritePin(COIL_D_GPIO_Port, COIL_D_Pin, 0);
				HAL_GPIO_WritePin(COIL_A_GPIO_Port, COIL_A_Pin, 0);
				HAL_GPIO_WritePin(COIL_C_GPIO_Port, COIL_C_Pin, 1);
				break;
		}
        step = (step + 1) % 8; // Increment and wrap around the step counter
        HAL_Delay(1); // Adjust delay as needed for your motor
    }
}

void LightBrightness() {
	HAL_ADC_Start(&hadc2);

	HAL_ADC_PollForConversion(&hadc2, 1);
	uint16_t adc_value = HAL_ADC_GetValue(&hadc2);

	// Ensure adc_value is within the desired range
	// theory 0 to 4095
	// conversion to normal room setting 400 adc for dark room and 1800 for bright room, 200 is lowest
	if (adc_value < 400) {
		adc_value = 400;
	}
	if (adc_value > 1800) {
		adc_value = 1800;
	}
	// Map the adc_value to the new PWM range
	// for general use brightness increase for room darkness
	uint16_t pwm_value = (1800 - adc_value) * 65535 / (1800 - 400);

	// Update the PWM duty cycle
	TIM3->CCR1 = pwm_value;
	TIM3->CCR2 = pwm_value;
	HAL_Delay(100);
}

void CheckDeviceState(){
	// update previous state, since it only matters if you change state whilst your in a mode
	hasStateChanged(deviceState);
	if (deviceState.mainMode == TIMER_MODE) {
		// indicate timer mode
		HAL_GPIO_WritePin(GPIOA, LD2_Pin, SET);
		EnterTimer();
		LCD_Reset();
	} else {
		if (deviceState.clockMode == CLOCK) {
			HAL_GPIO_WritePin(GPIOA, LD2_Pin, RESET);
			if (deviceState.modeState == DISPLAY) {
				// NOTE THIS CLOCK IS HARDCODED, YOU CANT GET REAL TIME UNLESS YOU USE
				// EXTERNAL SOURCE
				DisplayClock();
				shiftByte(0);
				latchData();
			} else {
				ConfigClock();
				deviceState.modeState = DISPLAY;
			}
		  shiftByte(0);
		  latchData();
		} else if (deviceState.clockMode == ALARM) {
			if (deviceState.modeState == DISPLAY) {
				DisplayAlarm();
			} else {
				GetUserAlarmInput();
				deviceState.modeState = DISPLAY;
			}
		} else if (deviceState.clockMode == COUNTDOWN) {
			if (deviceState.modeState == DISPLAY) {

				DisplayTimer();
			} else {
				ConfigTimer();
				deviceState.modeState = DISPLAY;
			}

		} else {
			EnterStopwatch();
		}
		LCD_Reset();
	}

// 	for testing
//	if (deviceState.modeState == DISPLAY) {
//		LCD_SetCursor(1, 0);
//		LCD_SendString("DISPLAY");
//	} else {
//		LCD_SetCursor(1, 0);
//		LCD_SendString("CONFIG");
//	}
}

/* USER CODE END 4 */

void Error_Handler(void)
{
  __disable_irq();
  while (1)
  {
  }
}
